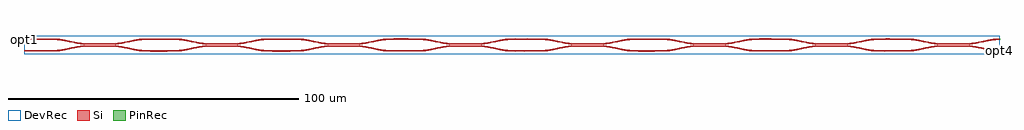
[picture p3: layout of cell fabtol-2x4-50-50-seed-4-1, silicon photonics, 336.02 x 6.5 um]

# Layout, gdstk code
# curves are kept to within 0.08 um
import gdstk
lib = gdstk.Library(unit=1e-6, precision=1e-09)
def R(c, l, rs):  # rectangles x0, y0, x1, y1
    for r in rs: c.add(gdstk.rectangle(r[:2], r[2:], *l))
def P(c, l, *ps):  # polygons
    for p in ps: c.add(gdstk.Polygon(p, *l))
Si = (1, 0)
PinRec = (1, 10)
DevRec = (68, 0)

layer_0_0_phase_sec_1_17 = lib.new_cell('layer-0_0_phase_sec_1$17')
P(layer_0_0_phase_sec_1_17, Si, [(2.433,-0.228),(0,-0.225),(0,0.225),(10,0.225),(10,-0.225)])

layer_3_0_phase_sec_0_17 = lib.new_cell('layer-3_0_phase_sec_0$17')
P(layer_3_0_phase_sec_0_17, Si, [(1.066,-0.244),(0,-0.225),(0,0.225),(10,0.225),(10,-0.225)])

dc_arm_down_17 = lib.new_cell('dc_arm_down$17')
R(dc_arm_down_17, Si, [(12,-0.55,20,-0.1)])
P(dc_arm_down_17, Si, [(32,-2.225),(30.861,-2.188),(29.344,-2.033),(22.966,-0.793),(21.481,-0.613),(20,-0.55),(20,-0.1),(21.139,-0.137),(22.656,-0.292),(29.034,-1.532),(30.519,-1.712),(32,-1.775)],
  [(0,-2.225),(0,-1.775),(1.481,-1.712),(2.966,-1.532),(9.344,-0.292),(10.861,-0.137),(12,-0.1),(12,-0.55),(10.519,-0.613),(9.034,-0.793),(2.656,-2.033),(1.139,-2.188)])

dc_arm_up_17 = lib.new_cell('dc_arm_up$17')
R(dc_arm_up_17, Si, [(12,0.1,20,0.55)])
P(dc_arm_up_17, Si, [(20,0.1),(20,0.55),(21.481,0.613),(22.966,0.793),(29.344,2.033),(30.861,2.188),(32,2.225),(32,1.775),(30.519,1.712),(29.034,1.532),(22.656,0.292),(21.139,0.137)],
  [(12,0.1),(10.861,0.137),(9.344,0.292),(2.966,1.532),(1.481,1.712),(0,1.775),(0,2.225),(1.139,2.188),(2.656,2.033),(9.034,0.793),(10.519,0.613),(12,0.55)])

dc_17 = lib.new_cell('dc$17')
dc_17.add(gdstk.Reference(dc_arm_down_17, (0,0)))
dc_17.add(gdstk.Reference(dc_arm_up_17, (0,0)))

layer_3_0_phase_sec_2_17 = lib.new_cell('layer-3_0_phase_sec_2$17')
P(layer_3_0_phase_sec_2_17, Si, [(2.756,-0.236),(0,-0.225),(0,0.225),(10,0.225),(10,-0.225)])

layer_0_0_phase_sec_3_17 = lib.new_cell('layer-0_0_phase_sec_3$17')
P(layer_0_0_phase_sec_3_17, Si, [(2.9,-0.247),(0,-0.225),(0,0.225),(10,0.225),(10,-0.225)])

layer_1_0_phase_sec_1_17 = lib.new_cell('layer-1_0_phase_sec_1$17')
P(layer_1_0_phase_sec_1_17, Si, [(6.09,-0.251),(0,-0.225),(0,0.225),(10,0.225),(10,-0.225)])

layer_0_0_phase_sec_2_17 = lib.new_cell('layer-0_0_phase_sec_2$17')
P(layer_0_0_phase_sec_2_17, Si, [(3.416,-0.232),(0,-0.225),(0,0.225),(10,0.225),(10,-0.225)])

layer_2_0_phase_sec_1_17 = lib.new_cell('layer-2_0_phase_sec_1$17')
P(layer_2_0_phase_sec_1_17, Si, [(4.218,-0.244),(0,-0.225),(0,0.225),(10,0.225),(10,-0.225)])

layer_3_0_phase_sec_1_17 = lib.new_cell('layer-3_0_phase_sec_1$17')
P(layer_3_0_phase_sec_1_17, Si, [(5.63,-0.236),(0,-0.225),(0,0.225),(10,0.225),(10,-0.225)])

layer_1_0_phase_sec_2_17 = lib.new_cell('layer-1_0_phase_sec_2$17')
P(layer_1_0_phase_sec_2_17, Si, [(6.34,-0.245),(0,-0.225),(0,0.225),(10,0.225),(10,-0.225)])

layer_0_0_phase_sec_0_17 = lib.new_cell('layer-0_0_phase_sec_0$17')
P(layer_0_0_phase_sec_0_17, Si, [(4.221,-0.229),(0,-0.225),(0,0.225),(10,0.225),(10,-0.225)])

layer_2_0_phase_sec_2_17 = lib.new_cell('layer-2_0_phase_sec_2$17')
P(layer_2_0_phase_sec_2_17, Si, [(2.272,-0.227),(0,-0.225),(0,0.225),(10,0.225),(10,-0.225)])

layer_1_0_phase_sec_3_17 = lib.new_cell('layer-1_0_phase_sec_3$17')
P(layer_1_0_phase_sec_3_17, Si, [(1.318,-0.234),(0,-0.225),(0,0.225),(10,0.225),(10,-0.225)])

layer_1_0_phase_sec_0_17 = lib.new_cell('layer-1_0_phase_sec_0$17')
P(layer_1_0_phase_sec_0_17, Si, [(2.404,-0.228),(0,-0.225),(0,0.225),(10,0.225),(10,-0.225)])

layer_2_0_phase_sec_3_17 = lib.new_cell('layer-2_0_phase_sec_3$17')
P(layer_2_0_phase_sec_3_17, Si, [(2.863,-0.252),(0,-0.225),(0,0.225),(10,0.225),(10,-0.225)])

layer_3_0_phase_sec_3_17 = lib.new_cell('layer-3_0_phase_sec_3$17')
P(layer_3_0_phase_sec_3_17, Si, [(2.313,-0.242),(0,-0.225),(0,0.225),(10,0.225),(10,-0.225)])

layer_2_0_phase_sec_0_17 = lib.new_cell('layer-2_0_phase_sec_0$17')
P(layer_2_0_phase_sec_0_17, Si, [(5.31,-0.236),(0,-0.225),(0,0.225),(10,0.225),(10,-0.225)])

fabtol_2x4_50_50_seed_4_ = lib.new_cell('fabtol-2x4-50-50-seed-4-1')
R(fabtol_2x4_50_50_seed_4_, DevRec, [(0,-1,336,5.497)])
fabtol_2x4_50_50_seed_4_.add(gdstk.FlexPath([(335.99,0.252),(336.01,0.252)], 0.45, ends="flush", simple_path=True, layer=1, datatype=10))  # PinRec
fabtol_2x4_50_50_seed_4_.add(gdstk.FlexPath([(335.99,4.252),(336.01,4.252)], 0.45, ends="flush", simple_path=True, layer=1, datatype=10))  # PinRec
fabtol_2x4_50_50_seed_4_.add(gdstk.FlexPath([(0.01,4.252),(-0.01,4.252)], 0.45, ends="flush", simple_path=True, layer=1, datatype=10))  # PinRec
fabtol_2x4_50_50_seed_4_.add(gdstk.Reference(layer_0_0_phase_sec_1_17, (0,0.252)))
fabtol_2x4_50_50_seed_4_.add(gdstk.Reference(layer_3_0_phase_sec_0_17, (252,4.252)))
fabtol_2x4_50_50_seed_4_.add(gdstk.Reference(dc_17, (10,2.252)))
fabtol_2x4_50_50_seed_4_.add(gdstk.Reference(dc_17, (52,2.252)))
fabtol_2x4_50_50_seed_4_.add(gdstk.Reference(dc_17, (94,2.252)))
fabtol_2x4_50_50_seed_4_.add(gdstk.Reference(dc_17, (136,2.252)))
fabtol_2x4_50_50_seed_4_.add(gdstk.Reference(dc_17, (178,2.252)))
fabtol_2x4_50_50_seed_4_.add(gdstk.Reference(dc_17, (220,2.252)))
fabtol_2x4_50_50_seed_4_.add(gdstk.Reference(dc_17, (262,2.252)))
fabtol_2x4_50_50_seed_4_.add(gdstk.Reference(dc_17, (304,2.252)))
fabtol_2x4_50_50_seed_4_.add(gdstk.Reference(layer_3_0_phase_sec_2_17, (294,4.252)))
fabtol_2x4_50_50_seed_4_.add(gdstk.Reference(layer_0_0_phase_sec_3_17, (42,0.252)))
fabtol_2x4_50_50_seed_4_.add(gdstk.Reference(layer_1_0_phase_sec_1_17, (84,0.252)))
fabtol_2x4_50_50_seed_4_.add(gdstk.Reference(layer_0_0_phase_sec_2_17, (42,4.252)))
fabtol_2x4_50_50_seed_4_.add(gdstk.Reference(layer_2_0_phase_sec_1_17, (168,0.252)))
fabtol_2x4_50_50_seed_4_.add(gdstk.Reference(layer_3_0_phase_sec_1_17, (252,0.252)))
fabtol_2x4_50_50_seed_4_.add(gdstk.Reference(layer_1_0_phase_sec_2_17, (126,4.252)))
fabtol_2x4_50_50_seed_4_.add(gdstk.Reference(layer_0_0_phase_sec_0_17, (0,4.252)))
fabtol_2x4_50_50_seed_4_.add(gdstk.Reference(layer_2_0_phase_sec_2_17, (210,4.252)))
fabtol_2x4_50_50_seed_4_.add(gdstk.Reference(layer_1_0_phase_sec_3_17, (126,0.252)))
fabtol_2x4_50_50_seed_4_.add(gdstk.Reference(layer_1_0_phase_sec_0_17, (84,4.252)))
fabtol_2x4_50_50_seed_4_.add(gdstk.Reference(layer_2_0_phase_sec_3_17, (210,0.252)))
fabtol_2x4_50_50_seed_4_.add(gdstk.Reference(layer_3_0_phase_sec_3_17, (294,0.252)))
fabtol_2x4_50_50_seed_4_.add(gdstk.Reference(layer_2_0_phase_sec_0_17, (168,4.252)))
fabtol_2x4_50_50_seed_4_.add(gdstk.Label('opt4', (336,0.252), layer=1, texttype=10))
fabtol_2x4_50_50_seed_4_.add(gdstk.Label('opt3', (336,4.252), layer=1, texttype=10))
fabtol_2x4_50_50_seed_4_.add(gdstk.Label('opt1', (0,4.252), layer=1, texttype=10))

lib.write_gds('fabtol-2x4-50-50-seed-4-1.gds')
